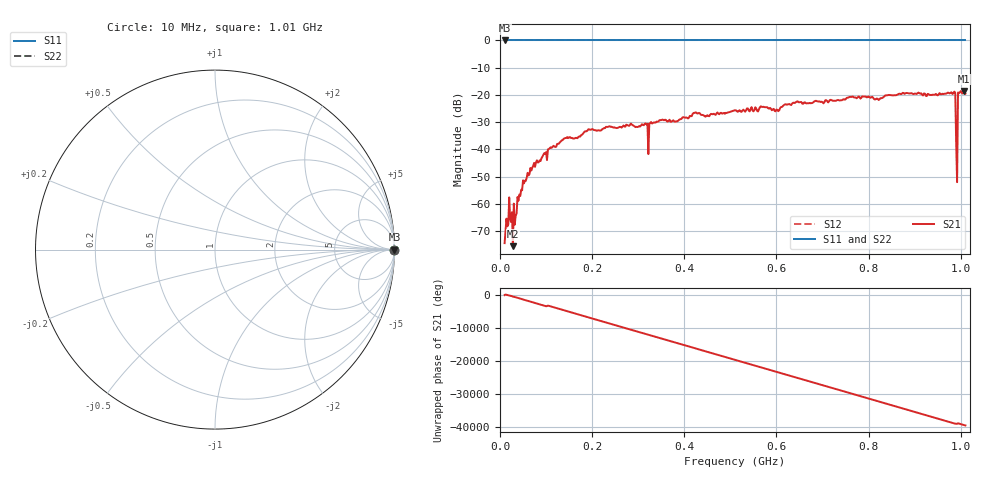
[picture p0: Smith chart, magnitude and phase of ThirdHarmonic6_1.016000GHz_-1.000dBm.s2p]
! 8/16/2025 8:27:06 AM
! C:\ANRITSUVNA\TEMP\TEMP.S2P
! CHANNEL.1
! TR.MEASUREMENT
! RAW.DATA
! RF.CORRECTION.OFF
! AVERAGING.OFF
! IF.BANDWIDTH: 5KHZ
! SWEEPTYPE:  FREQ.SWEEP(Linear)
! Reference Plane Port Info
! PORT:  PORT1  PORT2
! DISTANCE:  0  m  0  m
! TIME:  0  s  0  s
! PHASE.OFFSET:  0  deg.  0  deg.
! LOSS:  0  dB  0  dB
! REF.LOSS:  0  dB  0  dB
! REF.FREQ:  0  Hz  0  Hz
! Power Info
! POWER:  -20  dBm  -20  dBm
! EFF.POWER:  -20  dBm  -20  dBm
! SOURCE.ATTEN:  0  dB  0  dB
! TEST.ATTEN:  0  dB  0  dB
# GHZ S RI R 50.0
! FREQ.GHZ  S11RE  S11IM  S21RE  S21IM  S12RE  S12IM  S22RE  S22IM
!; PortSelection: Port_12
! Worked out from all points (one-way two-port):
!   501 points, 10 MHz to 1.01 GHz, reference 50 ohm
!   highest |S21| = -18.54 dB at 1.006 GHz (marker M1); lowest = -75.5 dB at 28 MHz (marker M2)
!   lowest |S11| = 0.0 dB at 10 MHz (marker M3)
!   |S11| at or under -10 dB: nowhere
!   |S22| runs from 0.0 to 0.0 dB; largest |S21 - S12| = 1.1
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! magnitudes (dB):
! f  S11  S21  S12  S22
! 10 MHz  0.0  -74.4  0.0  0.0
! 18 MHz  0.0  -67.5  0.0  0.0
! 28 MHz  0.0  -75.5  0.0  0.0
! 32 MHz  0.0  -67.6  0.0  0.0
! 34 MHz  0.0  -64.3  0.0  0.0
! 50 MHz  0.0  -51.3  0.0  0.0
! 70 MHz  0.0  -46.7  0.0  0.0
! 138 MHz  0.0  -36.1  0.0  0.0
! 178 MHz  0.0  -34.6  0.0  0.0
! 284 MHz  0.0  -30.5  0.0  0.0
! 322 MHz  0.0  -41.7  0.0  0.0
! 344 MHz  0.0  -29.7  0.0  0.0
! 510 MHz  0.0  -25.6  0.0  0.0
! 678 MHz  0.0  -22.9  0.0  0.0
! 844 MHz  0.0  -20.0  0.0  0.0
! 984 MHz  0.0  -19.3  0.0  0.0
! 988 MHz  0.0  -19.2  0.0  0.0
! 992 MHz  0.0  -52.0  0.0  0.0
! 994 MHz  0.0  -19.1  0.0  0.0
! 998 MHz  0.0  -19.0  0.0  0.0
! 1.006 GHz  0.0  -18.5  0.0  0.0
! 1.01 GHz  0.0  -19.6  0.0  0.0
